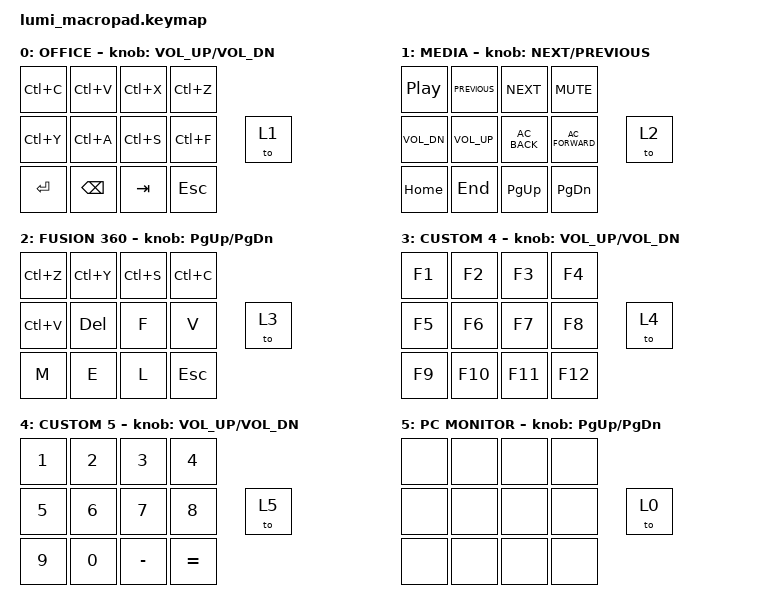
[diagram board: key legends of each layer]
#include <behaviors.dtsi>
#include <dt-bindings/zmk/keys.h>

/ {
    behaviors {
        lumi_rgb: lumi_rgb {
            compatible = "zmk,behavior-lumi-rgb";
            #binding-cells = <1>;
            display-name = "Lumi RGB";
        };

        lumi_action: lumi_action {
            compatible = "zmk,behavior-lumi-action";
            #binding-cells = <1>;
            display-name = "Lumi Action";
        };
    };

    // Hold these two keys together to unlock ZMK Studio:
    // physical key 1 (COPY/PLAY/UNDO) + physical key 12 (ESC).
    combos {
        compatible = "zmk,combos";

        studio_unlock_combo {
            timeout-ms = <80>;
            key-positions = <0 11>;
            bindings = <&studio_unlock>;
        };
    };

    keymap {
        compatible = "zmk,keymap";

        office { // Layer 0
            display-name = "OFFICE";
            bindings = <
                &kp LC(C)      &kp LC(V)      &kp LC(X)
                &kp LC(Z)      &kp LC(Y)      &kp LC(A)
                &kp LC(S)      &kp LC(F)      &kp ENTER
                &kp BACKSPACE  &kp TAB        &kp ESC
                &to 1
            >;
            sensor-bindings = <&inc_dec_kp C_VOL_UP C_VOL_DN>;
        };

        media { // Layer 1
            display-name = "MEDIA";
            bindings = <
                &kp C_PLAY_PAUSE  &kp C_PREVIOUS   &kp C_NEXT
                &kp C_MUTE        &kp C_VOL_DN     &kp C_VOL_UP
                &kp C_AC_BACK     &kp C_AC_FORWARD &kp HOME
                &kp END           &kp PG_UP        &kp PG_DN
                &to 2
            >;
            sensor-bindings = <&inc_dec_kp C_NEXT C_PREVIOUS>;
        };

        fusion360 { // Layer 2
            display-name = "FUSION 360";
            bindings = <
                &kp LC(Z)  &kp LC(Y)  &kp LC(S)
                &kp LC(C)  &kp LC(V)  &kp DELETE
                &kp F      &kp V      &kp M
                &kp E      &kp L      &kp ESC
                &to 3
            >;
            sensor-bindings = <&inc_dec_kp PG_UP PG_DN>;
        };

        custom4 { // Layer 3
            display-name = "CUSTOM 4";
            bindings = <
                &kp F1     &kp F2     &kp F3
                &kp F4     &kp F5     &kp F6
                &kp F7     &kp F8     &kp F9
                &kp F10    &kp F11    &kp F12
                &to 4
            >;
            sensor-bindings = <&inc_dec_kp C_VOL_UP C_VOL_DN>;
        };

        custom5 { // Layer 4
            display-name = "CUSTOM 5";
            bindings = <
                &kp N1     &kp N2     &kp N3
                &kp N4     &kp N5     &kp N6
                &kp N7     &kp N8     &kp N9
                &kp N0     &kp MINUS  &kp EQUAL
                &to 5
            >;
            sensor-bindings = <&inc_dec_kp C_VOL_UP C_VOL_DN>;
        };

        pcmonitor { // Layer 5 - reserved telemetry page
            display-name = "PC MONITOR";
            bindings = <
                &none &none &none
                &none &none &none
                &none &none &none
                &none &none &none
                &to 0
            >;
            sensor-bindings = <&inc_dec_kp PG_UP PG_DN>;
        };
    };
};
